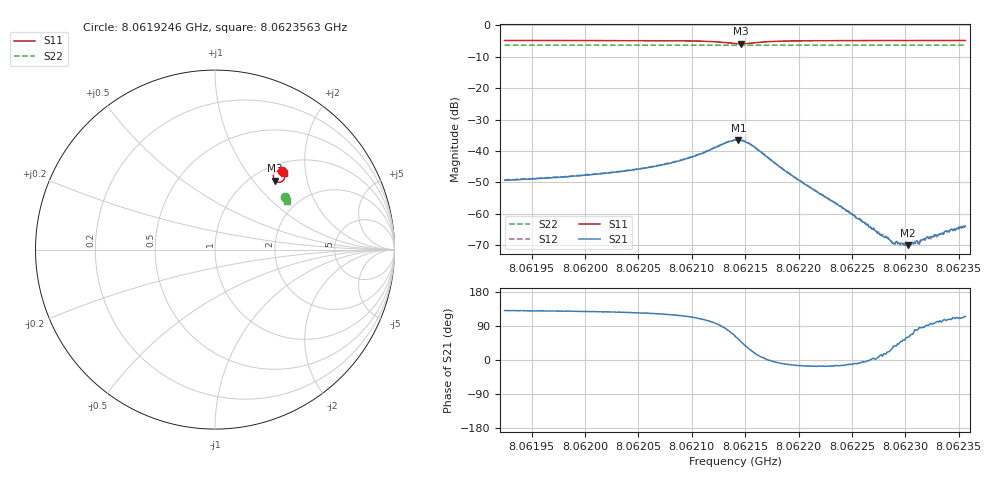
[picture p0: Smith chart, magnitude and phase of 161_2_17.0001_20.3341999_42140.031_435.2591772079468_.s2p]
#  HZ  S  RI  R  50.00
! Rohde & Schwarz Vector Network Analyzer
! Rohde-Schwarz,ZNB20-2Port,1311601062101988,3.16
! Created: UTC 3/20/2024, 10:59:15 PM
! freq[Hz]  re:S11  im:S11  re:S21  im:S21  re:S12  im:S12  re:S22  im:S22
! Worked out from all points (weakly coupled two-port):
!   401 points, 8.0619246 GHz to 8.0623563 GHz, reference 50 ohm
!   highest |S21| = -36.49 dB at 8.0621437 GHz (marker M1); lowest = -70.0 dB at 8.0623024 GHz (marker M2)
!   lowest |S11| = -5.9 dB at 8.0621459 GHz (marker M3), VSWR 3.08, Z = 62.9 + j65.1 ohm
!   |S11| at or under -10 dB: nowhere
!   |S22| runs from -6.3 to -6.3 dB; largest |S21 - S12| = 0.0012
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8.06192461e9  0.3714 0.4398  -0.00224 0.00261  -0.0021 0.00278  0.3875 0.2927
8.06199692e9  0.3776 0.4341  -0.00251 0.00323  -0.00235 0.00341  0.39 0.289
8.06203254e9  0.381 0.4299  -0.00277 0.0038  -0.00256 0.00398  0.3911 0.2872
8.06206924e9  0.3853 0.4231  -0.0031 0.005  -0.00283 0.00525  0.3925 0.2851
8.06210161e9  0.3889 0.4098  -0.00311 0.0076  -0.00269 0.00789  0.3934 0.2829
8.06213291e9  0.3699 0.3782  0.00226 0.0136  0.00327 0.0135  0.3932 0.2804
8.06214047e9  0.3503 0.376  0.00669 0.0134  0.0076 0.0131  0.3925 0.2804
8.06214371e9  0.3412 0.3796  0.00866 0.0122  0.00939 0.0118  0.3922 0.2805
8.06214587e9  0.3355 0.3834  0.0097 0.0111  0.0105 0.0107  0.3921 0.2807
8.06215666e9  0.3251 0.4113  0.0112 0.00467  0.0115 0.00402  0.3923 0.2816
8.0621858e9  0.3513 0.439  0.00498 -0.000865  0.00497 -0.00118  0.3948 0.281
8.06221278e9  0.3645 0.4388  0.0024 -0.000711  0.00239 -0.000863  0.3963 0.2795
8.06224948e9  0.3732 0.4357  0.000991 -0.000207  0.000977 -0.000261  0.3978 0.2775
8.06227538e9  0.377 0.4336  0.00049 7.4e-05  0.000529 7.42e-05  0.3988 0.2763
8.0622851e9  0.3784 0.4329  0.000361 0.000149  0.000356 0.00014  0.3989 0.2756
8.06228833e9  0.3786 0.4327  0.000281 0.000188  0.000312 0.000136  0.3992 0.2756
8.06229049e9  0.3789 0.4324  0.000264 0.0002  0.000295 0.000184  0.3991 0.2754
8.06230236e9  0.3803 0.4315  0.000158 0.000274  0.000156 0.000275  0.3996 0.2749
8.06230992e9  0.381 0.431  7.12e-05 0.000359  0.000109 0.000322  0.3998 0.2745
8.06231424e9  0.3814 0.4307  3.26e-05 0.000368  7.96e-05 0.000377  0.4 0.2741
8.06231855e9  0.3819 0.4304  3.85e-06 0.000401  3.96e-05 0.000379  0.4002 0.2741
8.06235633e9  0.385 0.428  -0.000267 0.00058  -0.00021 0.000617  0.4014 0.272
